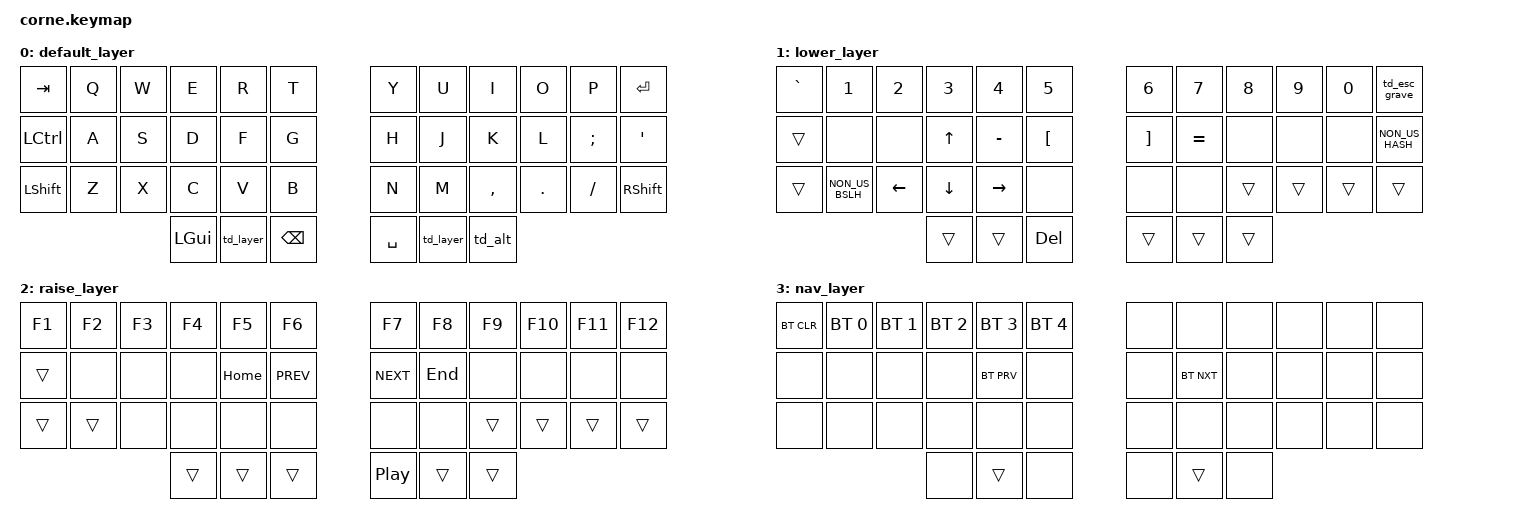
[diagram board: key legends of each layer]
/*
 * Copyright (c) 2020 The ZMK Contributors
 *
 * SPDX-License-Identifier: MIT
 */
//
#include <behaviors.dtsi>
#include <dt-bindings/zmk/keys.h>
#include <dt-bindings/zmk/bt.h>
#include <dt-bindings/zmk/rgb.h>
// #include <../boards/shields/corne/boards/nice_nano.overlay>
#include <dt-bindings/zmk/ext_power.h>

#define DEFAULT 0
#define LOWER   1
#define RAISE   2
#define NAV		3

/ {
   behaviors {
		mo_to: behavior_mo_to {
			compatible = "zmk,behavior-hold-tap";
			#binding-cells = <2>;
			flavor = "hold-preferred";
			tapping-term-ms = <200>;
			bindings = <&mo>, <&to>;
		};
		kp_mo: behavior_kp_mo {
			compatible = "zmk,behavior-hold-tap";
			#binding-cells = <2>;
			flavor = "hold-preferred";
			tapping-term-ms = <200>;
			bindings = <&kp>, <&mo>;
		};
		td_esc_grave: tap_dance_enter_grave {
			compatible = "zmk,behavior-tap-dance";
			#binding-cells = <0>;
			tapping-term-ms = <200>;
			bindings = <&kp ESC>, <&kp GRAVE>;
		};
		td_alt: tap_dance_alt {
			compatible = "zmk,behavior-tap-dance";
            		#binding-cells = <0>;
           		tapping-term-ms = <400>;
           		bindings = <&kp LALT>, <&kp RALT>;
        	};
		td_layer: tap_dance_layer {
			compatible = "zmk,behavior-tap-dance";
            		#binding-cells = <0>;
           		tapping-term-ms = <250>;
           		bindings = <&mo 1>, <&mo 2>, <&mo 3>;
        	};
	};
	
	combos {
		compatible = "zmk,combos";
		combo_shift {
			timeout-ms = <80>;
			key-positions = <24 35>;
			bindings = <&kp CAPS>;
		};
		combo_layer {
			timeout-ms = <150>;
			key-positions = <36 41>;
			bindings = <&mo RAISE>;
		};
	};
	
   keymap {
      compatible = "zmk,keymap";

      // -----------------------------------------------------------------------------------------
      // | TAB  |  Q  |  W  |  E  |  R  |  T  |   		|  Y  |  U   |  I  |  O  |  P  | RET |
      // | CTRL |  A  |  S  |  D  |  F  |  G  |   		|  H  |  J   |  K  |  L  |  ;  |  '  |
      // | SHFT |  Z  |  X  |  C  |  V  |  B  |   		|  N  |  M   |  ,  |  .  |  /  | SFT |
      //                    | GUI | LWR | BKS |   		| SPC | RSE  | ALT |
      default_layer {
         bindings = <
            &kp TAB   &kp Q &kp W &kp E 	&kp R 		&kp T   			&kp Y 		&kp U  		&kp I     &kp O   &kp P    &kp RET
            &kp LCTRL &kp A &kp S &kp D 	&kp F 		&kp G   			&kp H 		&kp J  		&kp K     &kp L   &kp SEMI &kp SQT
            &kp LSHFT &kp Z &kp X &kp C 	&kp V 		&kp B   			&kp N 		&kp M  		&kp COMMA &kp DOT &kp FSLH &kp RSHFT
								  &kp LGUI 	&td_layer	&kp BSPC 			&kp SPACE 	&td_layer 	&td_alt
         >;
      };

      // -----------------------------------------------------------------------------------------
      // |  `   |  1  |  2  |  3  |  4  |  5  |			|  6  |  7  |  8  |  9  |  0  | ESC |
      // | CTRL |     |     |  UP |  -  |  [  |			|  ]  |  =  |     |     |     |  #  |
      // | SHFT |  \  | LFT | DWN | RGT |     |			|     |     |  ,  |  .  |  /  | SFT |
      //                    | GUI | LWR | DEL |			| SPC | RSE | ALT |
      lower_layer {
         bindings = <
            &kp GRAVE 	&kp N1     		&kp N2 		&kp N3  	&kp N4    	&kp N5    		&kp N6   	&kp N7   	&kp N8 &kp N9 &kp N0  &td_esc_grave
            &trans 		&none      		&none		&kp UP 		&kp MINUS  	&kp LBKT 		&kp RBKT	&kp EQUAL 	&none  &none  &none   &kp NON_US_HASH
            &trans 		&kp NON_US_BSLH &kp LEFT	&kp DOWN	&kp RIGHT 	&none	  		&none		&none   	&trans &trans &trans  &trans
													&trans 		&trans 		&kp DEL			&trans		&trans  	&trans
         >; //
      };

      // -----------------------------------------------------------------------------------------
      // |  F1  |  F2 |  F3 | F4  |  F5 |  F6 |			| F7  |  F8 |  F9 | F10 | F11 | F12 |
      // | CTRL |     |     |     |HOME |     |			|     |     | END |     |     |     |
      // | SHFT |  \  |     |NEXT |  PP | PRV |			|     |     |     |     |     |     |
      //                    |     |     |     |			|     |     |     |
      raise_layer {
         bindings = <
            &kp F1	&kp F2	&kp F3	&kp F4	&kp F5 		&kp F6			&kp F7				&kp F8 	&kp F9	&kp F10 &kp F11 &kp F12
            &trans	&none	&none 	&none 	&kp HOME	&kp C_PREV		&kp C_NEXT			&kp END &none 	&none 	&none	&none
            &trans 	&trans	&none 	&none	&none		&none		  	&none				&none 	&trans	&trans	&trans	&trans
									&trans  &trans 		&trans		   	&kp C_PLAY_PAUSE	&trans 	&trans
         >;
		};
		
		
	nav_layer {
         bindings = <
			&bt BT_CLR	&bt BT_SEL 0	&bt BT_SEL 1	&bt BT_SEL 2	&bt BT_SEL 3	&bt BT_SEL 4			&none		&none		&none		&none		&none		&none
            &none		&none			&none			&none			&bt BT_PRV		&none	 				&none		&bt BT_NXT	&none		&none		&none		&none
			&none		&none			&none			&none			&none			&none	 				&none		&none		&none		&none		&none		&none
														&none  	   		&trans 	    	&none       			&none 		&trans 		&none
         >;
      };
   };
};
